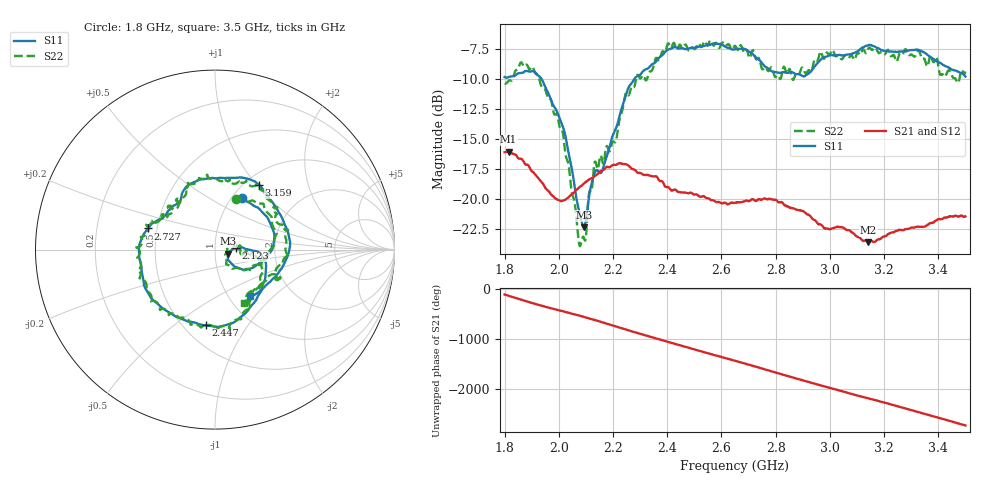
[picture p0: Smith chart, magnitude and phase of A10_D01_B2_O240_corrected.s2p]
! Created with skrf 1.9.0 (http://scikit-rf.org).
# Hz S RI R 50.0
!freq ReS11 ImS11 ReS21 ImS21 ReS12 ImS12 ReS22 ImS22
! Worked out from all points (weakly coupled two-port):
!   1601 points, 1.8 GHz to 3.5 GHz, reference 50 ohm
!   highest |S21| = -16.08 dB at 1.815 GHz (marker M1); lowest = -23.6 dB at 3.142 GHz (marker M2)
!   lowest |S11| = -22.4 dB at 2.092 GHz (marker M3), VSWR 1.16, Z = 57.8 - j2.58 ohm
!   |S11| at or under -10 dB: 1.937 GHz to 2.278 GHz (341.4 MHz wide, 16.2 % of centre)
!   |S22| runs from -24.0 to -6.8 dB; largest |S21 - S12| = 0.0031
!   S11 on the Smith chart (normalised r, x): 1.8 GHz: 1.12, +0.71; 2.123 GHz: 1.27, +0.02; 2.447 GHz: 0.64, -0.66; 2.727 GHz: 0.45, +0.12; 3.159 GHz: 1.16, +1.03; 3.5 GHz: 1.25, -0.73
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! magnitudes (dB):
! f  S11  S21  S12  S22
! 1.8 GHz  -9.8  -16.1  -16.1  -10.4
! 1.815 GHz  -9.8  -16.1  -16.1  -10.1
! 1.901 GHz  -9.3  -17.7  -17.7  -8.9
! 1.969 GHz  -11.6  -19.6  -19.6  -11.6
! 2.021 GHz  -14.4  -20.1  -20.1  -15.6
! 2.073 GHz  -20.8  -19.1  -19.1  -23.5
! 2.084 GHz  -21.9  -18.9  -18.9  -23.5
! 2.092 GHz  -22.4  -18.7  -18.8  -23.2
! 2.123 GHz  -18.6  -18.3  -18.2  -19.0
! 2.209 GHz  -14.2  -17.2  -17.1  -15.3
! 2.259 GHz  -10.6  -17.3  -17.3  -11.3
! 2.367 GHz  -8.3  -18.4  -18.3  -8.4
! 2.447 GHz  -7.4  -19.5  -19.5  -7.1
! 2.65 GHz  -7.5  -20.3  -20.3  -7.2
! 2.727 GHz  -8.2  -20.2  -20.2  -8.3
! 2.812 GHz  -9.5  -20.3  -20.2  -9.8
! 2.934 GHz  -9.3  -21.6  -21.6  -9.2
! 3.142 GHz  -7.2  -23.6  -23.5  -7.4
! 3.159 GHz  -7.2  -23.6  -23.5  -7.5
! 3.217 GHz  -7.7  -22.9  -22.9  -7.6
! 3.328 GHz  -7.6  -22.3  -22.3  -7.6
! 3.5 GHz  -9.8  -21.5  -21.5  -9.4
